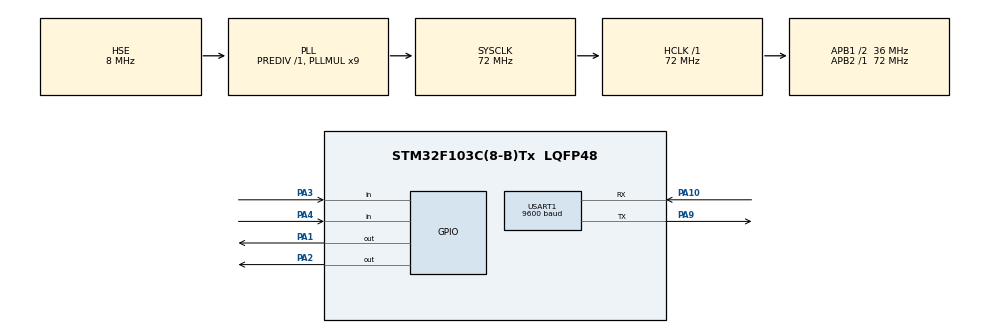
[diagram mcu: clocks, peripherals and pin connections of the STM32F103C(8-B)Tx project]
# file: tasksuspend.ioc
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Mcu.Family=STM32F1
Mcu.Name=STM32F103C(8-B)Tx
Mcu.Package=LQFP48
NVIC.PriorityGroup=NVIC_PRIORITYGROUP_4
NVIC.TIM4_IRQn=true\:15\:0\:false\:false\:true\:false\:true\:true
NVIC.TimeBase=TIM4_IRQn
NVIC.TimeBaseIP=TIM4
PA1.Signal=GPIO_Output
PA10.Mode=Asynchronous
PA10.Signal=USART1_RX
PA13.Mode=Serial_Wire
PA13.Signal=SYS_JTMS-SWDIO
PA14.Mode=Serial_Wire
PA14.Signal=SYS_JTCK-SWCLK
PA2.Signal=GPIO_Output
PA3.GPIO_PuPd=GPIO_PULLDOWN
PA3.Signal=GPIO_Input
PA4.GPIO_PuPd=GPIO_PULLDOWN
PA4.Signal=GPIO_Input
PA9.Mode=Asynchronous
PA9.Signal=USART1_TX
PC14-OSC32_IN.Mode=LSE-External-Oscillator
PC14-OSC32_IN.Signal=RCC_OSC32_IN
PC15-OSC32_OUT.Mode=LSE-External-Oscillator
PC15-OSC32_OUT.Signal=RCC_OSC32_OUT
PD0-OSC_IN.Mode=HSE-External-Oscillator
PD0-OSC_IN.Signal=RCC_OSC_IN
PD1-OSC_OUT.Mode=HSE-External-Oscillator
PD1-OSC_OUT.Signal=RCC_OSC_OUT
ProjectManager.HeapSize=0x200
ProjectManager.StackSize=0x400
ProjectManager.TargetToolchain=CMake
RCC.AHBFreq_Value=72000000
RCC.APB1CLKDivider=RCC_HCLK_DIV2
RCC.APB1Freq_Value=36000000
RCC.APB1TimFreq_Value=72000000
RCC.APB2Freq_Value=72000000
RCC.APB2TimFreq_Value=72000000
RCC.HCLKFreq_Value=72000000
RCC.PLLMUL=RCC_PLL_MUL9
RCC.PLLSourceVirtual=RCC_PLLSOURCE_HSE
RCC.SYSCLKFreq_VALUE=72000000
RCC.SYSCLKSource=RCC_SYSCLKSOURCE_PLLCLK
RCC.USBFreq_Value=72000000
USART1.BaudRate=9600
USART1.VirtualMode=VM_ASYNC
VP_SYS_VS_tim4.Mode=TIM4
board=custom

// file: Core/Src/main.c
/* USER CODE BEGIN Header */
/**
  ******************************************************************************
  * @file           : main.c
  * @brief          : Main program body
  ******************************************************************************
  * @attention
  *
  * Copyright (c) 2026 STMicroelectronics.
  * All rights reserved.
  *
  * This software is licensed under terms that can be found in the LICENSE file
  * in the root directory of this software component.
  * If no LICENSE file comes with this software, it is provided AS-IS.
  *
  ******************************************************************************
  */
/* USER CODE END Header */
#include "main.h"
#include "usart.h"
#include "gpio.h"

/* USER CODE BEGIN Includes */
#include "FreeRTOS.h"
#include "portmacro.h"
#include "projdefs.h"
#include "stm32f103xb.h"
#include "stm32f1xx_hal_gpio.h"
#include "task.h"
#include <stdio.h>
#include <string.h>
/* USER CODE END Includes */

/* USER CODE BEGIN PV */
TaskHandle_t task1_handle = NULL;
TaskHandle_t task2_handle = NULL;
TaskHandle_t task3_handle = NULL;
TaskHandle_t start_task_handler = NULL;
char TaskListBuffer[1024];
/* USER CODE END PV */

void SystemClock_Config(void);
/* USER CODE BEGIN PFP */
void FreeRTOS_Start(void);
void Start_Task(void *pvParameters);
void Task1(void *argument);
void Task2(void *argument);
void Task3(void *argument);
/* USER CODE END PFP */

int main(void)
{

  /* MCU Configuration--------------------------------------------------------*/

  /* Reset of all peripherals, Initializes the Flash interface and the Systick. */
  HAL_Init();

  /* Configure the system clock */
  SystemClock_Config();

  /* Initialize all configured peripherals */
  MX_GPIO_Init();
  MX_USART1_UART_Init();
  /* USER CODE BEGIN 2 */
  FreeRTOS_Start();
  /* USER CODE END 2 */

  /* Infinite loop */
  while (1)
  {

  }
}

void SystemClock_Config(void)
{
  RCC_OscInitTypeDef RCC_OscInitStruct = {0};
  RCC_ClkInitTypeDef RCC_ClkInitStruct = {0};

  /** Initializes the RCC Oscillators according to the specified parameters
  * in the RCC_OscInitTypeDef structure.
  */
  RCC_OscInitStruct.OscillatorType = RCC_OSCILLATORTYPE_HSE;
  RCC_OscInitStruct.HSEState = RCC_HSE_ON;
  RCC_OscInitStruct.HSEPredivValue = RCC_HSE_PREDIV_DIV1;
  RCC_OscInitStruct.HSIState = RCC_HSI_ON;
  RCC_OscInitStruct.PLL.PLLState = RCC_PLL_ON;
  RCC_OscInitStruct.PLL.PLLSource = RCC_PLLSOURCE_HSE;
  RCC_OscInitStruct.PLL.PLLMUL = RCC_PLL_MUL9;
  if (HAL_RCC_OscConfig(&RCC_OscInitStruct) != HAL_OK)
  {
    Error_Handler();
  }

  /** Initializes the CPU, AHB and APB buses clocks
  */
  RCC_ClkInitStruct.ClockType = RCC_CLOCKTYPE_HCLK|RCC_CLOCKTYPE_SYSCLK
                              |RCC_CLOCKTYPE_PCLK1|RCC_CLOCKTYPE_PCLK2;
  RCC_ClkInitStruct.SYSCLKSource = RCC_SYSCLKSOURCE_PLLCLK;
  RCC_ClkInitStruct.AHBCLKDivider = RCC_SYSCLK_DIV1;
  RCC_ClkInitStruct.APB1CLKDivider = RCC_HCLK_DIV2;
  RCC_ClkInitStruct.APB2CLKDivider = RCC_HCLK_DIV1;

  if (HAL_RCC_ClockConfig(&RCC_ClkInitStruct, FLASH_LATENCY_2) != HAL_OK)
  {
    Error_Handler();
  }
}

/* USER CODE BEGIN 4 */
int __io_putchar(int ch)
{
    uint8_t data = (uint8_t)ch;
    HAL_UART_Transmit(&huart1, &data, 1, HAL_MAX_DELAY);
    return ch;
}

void FreeRTOS_Start(void)
{
    xTaskCreate(Start_Task, "Start_Task", 256, NULL, 1, &start_task_handler);
    vTaskStartScheduler();
}

void Start_Task(void * pvParameters)
{
    taskENTER_CRITICAL();               /* 進入臨界區 */

    xTaskCreate(Task1, "Task1", 128, NULL, 2, &task1_handle);
    xTaskCreate(Task2, "Task2", 128, NULL, 3, &task2_handle);
    xTaskCreate(Task3, "Task3", 128, NULL, 4, &task3_handle);

    vTaskDelete(NULL);
    taskEXIT_CRITICAL();                /* 退出臨界區 */
}

// 實現 LED1 每 500ms 閃爍一次
void Task1(void *argument)
{
    for (;;)
    {
        HAL_GPIO_TogglePin(GPIOA, GPIO_PIN_1);
        vTaskDelay(pdMS_TO_TICKS(500));
    }
}

// 實現 LED2 每 500ms 閃爍一次
void Task2(void *argument)
{
    for (;;)
    {
        HAL_GPIO_TogglePin(GPIOA, GPIO_PIN_2);
        vTaskDelay(pdMS_TO_TICKS(500));
    }
}

// 判斷按鍵按下，列印任務狀態。KEY1 按下，掛起 task1；KEY2 按下，恢復 task1
void Task3(void *argument)
{
    for (;;)
    {
      // key1
      if (HAL_GPIO_ReadPin(GPIOA, GPIO_PIN_3))
      {
        vTaskDelay(pdMS_TO_TICKS(20));
        if (HAL_GPIO_ReadPin(GPIOA, GPIO_PIN_3))
        {
          vTaskSuspend(task1_handle);
          printf("Suspend Task1\r\n");
          vTaskList(TaskListBuffer);
          printf(TaskListBuffer);
          printf("\r\n");
          while (HAL_GPIO_ReadPin(GPIOA, GPIO_PIN_3) == GPIO_PIN_SET)
          {
            vTaskDelay(pdMS_TO_TICKS(10));
          }

          vTaskDelay(pdMS_TO_TICKS(20));
        }
      }

      // key2
      if (HAL_GPIO_ReadPin(GPIOA, GPIO_PIN_4))
      {
        vTaskDelay(pdMS_TO_TICKS(20));
        if (HAL_GPIO_ReadPin(GPIOA, GPIO_PIN_4))
        {
          vTaskResume(task1_handle);
          printf("Resume Task1\r\n");
          vTaskList(TaskListBuffer);
          printf(TaskListBuffer);
          printf("\r\n");
          while (HAL_GPIO_ReadPin(GPIOA, GPIO_PIN_4) == GPIO_PIN_SET)
          {
            vTaskDelay(pdMS_TO_TICKS(10));
          }
        }
        vTaskDelay(pdMS_TO_TICKS(20));
      }

      vTaskDelay(pdMS_TO_TICKS(10));
    }
}
/* USER CODE END 4 */

void HAL_TIM_PeriodElapsedCallback(TIM_HandleTypeDef *htim)
{
  if (htim->Instance == TIM4)
  {
    HAL_IncTick();
  }
}

void Error_Handler(void)
{
  __disable_irq();
  while (1)
  {
  }
}
